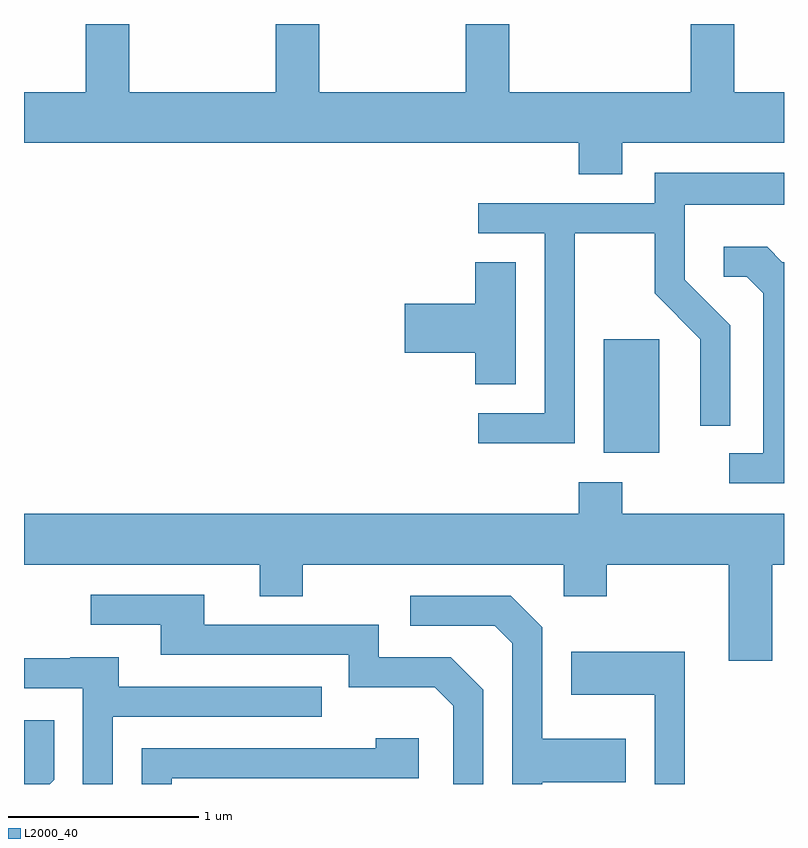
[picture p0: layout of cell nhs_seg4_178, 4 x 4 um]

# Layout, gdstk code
import gdstk
lib = gdstk.Library(unit=1e-6, precision=1e-09)
def R(c, l, rs):  # rectangles x0, y0, x1, y1
    for r in rs: c.add(gdstk.rectangle(r[:2], r[2:], *l))
def P(c, l, *ps):  # polygons
    for p in ps: c.add(gdstk.Polygon(p, *l))
L2000_40 = (2000, 40)

nhs_seg4_178 = lib.new_cell('nhs_seg4_178')
R(nhs_seg4_178, L2000_40, [(192.661,1339.726,192.954,1340.324)])
P(nhs_seg4_178, L2000_40, [(192.759,1341.356),(193.611,1341.356),(193.611,1341.624),(193.349,1341.624),(193.349,1341.982),(193.121,1341.982),(193.121,1341.624),(192.164,1341.624),(192.164,1341.982),(191.936,1341.982),(191.936,1341.624),(191.164,1341.624),(191.164,1341.982),(190.936,1341.982),(190.936,1341.624),(190.164,1341.624),(190.164,1341.982),(189.936,1341.982),(189.936,1341.624),(189.611,1341.624),(189.611,1341.356),(192.531,1341.356),(192.531,1341.191),(192.759,1341.191)],
  [(192.509,1340.881),(192.931,1340.881),(192.931,1340.564),(193.171,1340.324),(193.171,1339.868),(193.329,1339.868),(193.329,1340.397),(193.089,1340.637),(193.089,1341.031),(193.611,1341.031),(193.611,1341.199),(192.931,1341.199),(192.931,1341.039),(192.003,1341.039),(192.003,1340.881),(192.351,1340.881),(192.351,1339.934),(192.003,1339.934),(192.003,1339.776),(192.509,1339.776)],
  [(193.611,1340.729),(193.602,1340.729),(193.522,1340.809),(193.293,1340.809),(193.293,1340.651),(193.414,1340.651),(193.501,1340.564),(193.501,1339.724),(193.323,1339.724),(193.323,1339.566),(193.611,1339.566)],
  [(192.199,1340.729),(191.986,1340.729),(191.986,1340.509),(191.616,1340.509),(191.616,1340.251),(191.986,1340.251),(191.986,1340.086),(192.199,1340.086)],
  [(193.549,1339.136),(193.611,1339.136),(193.611,1339.404),(192.759,1339.404),(192.759,1339.569),(192.531,1339.569),(192.531,1339.404),(189.611,1339.404),(189.611,1339.136),(190.851,1339.136),(190.851,1338.971),(191.079,1338.971),(191.079,1339.136),(192.451,1339.136),(192.451,1338.971),(192.679,1338.971),(192.679,1339.136),(193.321,1339.136),(193.321,1338.631),(193.549,1338.631)],
  [(192.029,1338.477),(191.857,1338.649),(191.479,1338.649),(191.479,1338.819),(190.559,1338.819),(190.559,1338.979),(189.963,1338.979),(189.963,1338.821),(190.331,1338.821),(190.331,1338.661),(191.321,1338.661),(191.321,1338.491),(191.774,1338.491),(191.871,1338.394),(191.871,1337.982),(192.029,1337.982)],
  [(192.339,1337.991),(192.779,1337.991),(192.779,1338.219),(192.339,1338.219),(192.339,1338.807),(192.172,1338.974),(191.643,1338.974),(191.643,1338.816),(192.089,1338.816),(192.181,1338.724),(192.181,1337.982),(192.339,1337.982)],
  [(193.089,1338.679),(192.491,1338.679),(192.491,1338.451),(192.931,1338.451),(192.931,1337.982),(193.089,1337.982)],
  [(190.079,1338.336),(191.178,1338.336),(191.178,1338.494),(190.109,1338.494),(190.109,1338.649),(189.855,1338.649),(189.855,1338.644),(189.611,1338.644),(189.611,1338.486),(189.921,1338.486),(189.921,1337.982),(190.079,1337.982)],
  [(189.769,1338.004),(189.769,1338.318),(189.611,1338.318),(189.611,1337.982),(189.747,1337.982)],
  [(190.389,1338.011),(191.689,1338.011),(191.689,1338.224),(191.461,1338.224),(191.461,1338.169),(190.231,1338.169),(190.231,1337.982),(190.389,1337.982)])

lib.write_gds('nhs_seg4_178.gds')
